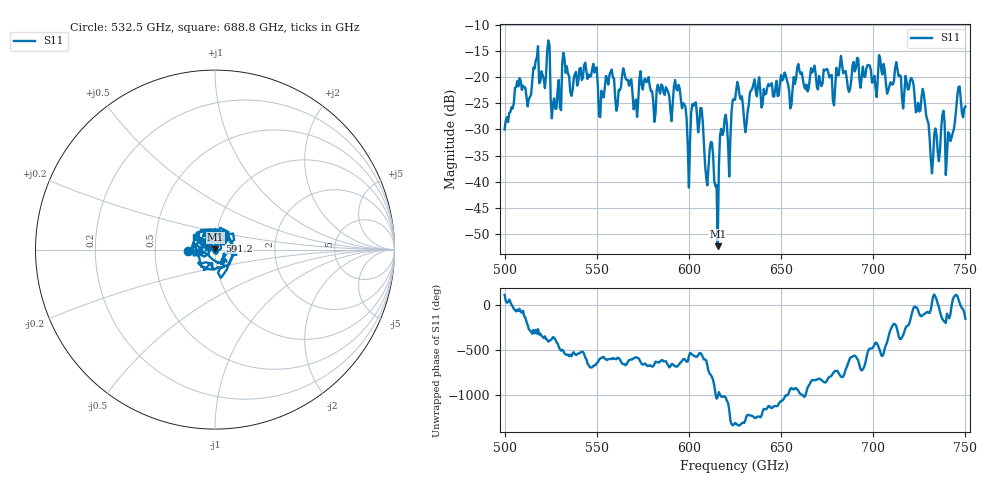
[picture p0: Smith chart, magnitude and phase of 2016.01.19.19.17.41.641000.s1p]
!Created with skrf (http://scikit-rf.org).
# GHz S RI R 50.0
!freq ReS11 ImS11
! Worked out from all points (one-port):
!   401 points, 500 GHz to 750 GHz, reference 50 ohm
!   lowest |S11| = -52.4 dB at 615.6 GHz (marker M1), VSWR 1.00, Z = 50.1 + j0.2 ohm
!   |S11| at or under -10 dB: start of sweep to end of sweep
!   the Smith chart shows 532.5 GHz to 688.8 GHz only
!   S11 on the Smith chart (normalised r, x): 532.5 GHz: 0.74, -0.01; 591.2 GHz: 1.05, +0.11; 688.8 GHz: 0.80, +0.12
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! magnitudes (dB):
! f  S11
! 500 GHz  -30.0
! 507.5 GHz  -21.7
! 513.1 GHz  -24.1
! 516.9 GHz  -16.8
! 523.8 GHz  -12.9
! 526.9 GHz  -24.0
! 531.2 GHz  -17.4
! 532.5 GHz  -16.4
! 562.5 GHz  -22.5
! 591.2 GHz  -24.8
! 593.8 GHz  -22.5
! 599.4 GHz  -33.0
! 603.1 GHz  -24.9
! 615.6 GHz  -52.4
! 618.1 GHz  -31.1
! 621.9 GHz  -39.0
! 625 GHz  -24.3
! 630.6 GHz  -30.5
! 634.4 GHz  -22.2
! 656.2 GHz  -22.2
! 687.5 GHz  -22.2
! 688.8 GHz  -17.7
! 718.8 GHz  -22.3
! 727.5 GHz  -23.4
! 731.9 GHz  -38.4
! 740.6 GHz  -30.5
! 746.2 GHz  -21.9
! 750 GHz  -25.6
